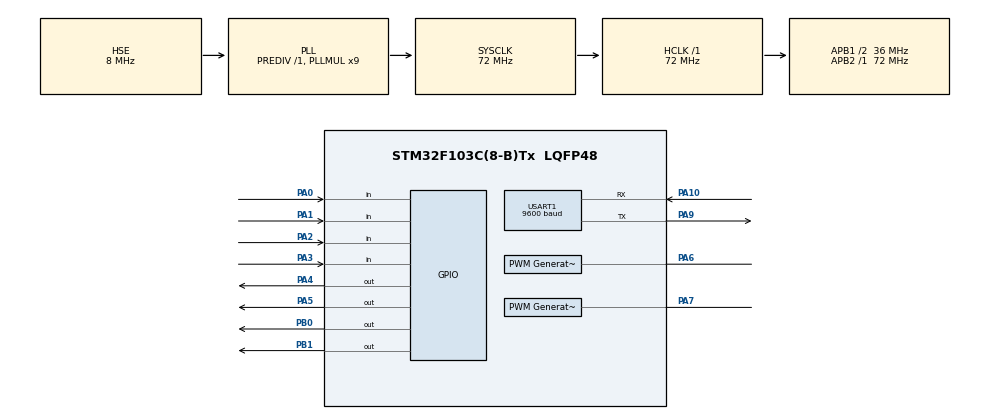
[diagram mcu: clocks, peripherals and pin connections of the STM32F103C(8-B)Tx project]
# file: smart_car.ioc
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Mcu.Family=STM32F1
Mcu.Name=STM32F103C(8-B)Tx
Mcu.Package=LQFP48
NVIC.PriorityGroup=NVIC_PRIORITYGROUP_4
NVIC.USART1_IRQn=true\:0\:0\:false\:false\:true\:false\:true\:true
PA0.GPIO_PuPd=GPIO_PULLUP
PA0.Mode=Input
PA0.Signal=GPIO_Input
PA1.GPIO_PuPd=GPIO_PULLUP
PA1.Mode=Input
PA1.Signal=GPIO_Input
PA2.GPIO_PuPd=GPIO_PULLUP
PA2.Mode=Input
PA2.Signal=GPIO_Input
PA3.GPIO_PuPd=GPIO_PULLUP
PA3.Mode=Input
PA3.Signal=GPIO_Input
PA4.GPIO_Speed=GPIO_SPEED_FREQ_LOW
PA4.Mode=Output
PA4.Signal=GPIO_Output
PA5.GPIO_Speed=GPIO_SPEED_FREQ_LOW
PA5.Mode=Output
PA5.Signal=GPIO_Output
PA6.Mode=TIM3_CH1
PA6.Signal=PWM Generation1 CH1
PA7.Mode=TIM3_CH2
PA7.Signal=PWM Generation1 CH2
PA9.Mode=Asynchronous
PA9.Signal=USART1_TX
PA10.Mode=Asynchronous
PA10.Signal=USART1_RX
PA13.Mode=Serial_Wire
PA13.Signal=SYS_JTMS-SWDIO
PA14.Mode=Serial_Wire
PA14.Signal=SYS_JTCK-SWCLK
PB0.GPIO_Speed=GPIO_SPEED_FREQ_LOW
PB0.Mode=Output
PB0.Signal=GPIO_Output
PB1.GPIO_Speed=GPIO_SPEED_FREQ_LOW
PB1.Mode=Output
PB1.Signal=GPIO_Output
PD0-OSC_IN.Mode=HSE-External-Oscillator
PD0-OSC_IN.Signal=RCC_OSC_IN
PD1-OSC_OUT.Mode=HSE-External-Oscillator
PD1-OSC_OUT.Signal=RCC_OSC_OUT
ProjectManager.HeapSize=0x200
ProjectManager.StackSize=0x400
ProjectManager.TargetToolchain=STM32CubeIDE
RCC.AHBFreq_Value=72000000
RCC.APB1CLKDivider=RCC_HCLK_DIV2
RCC.APB1Freq_Value=36000000
RCC.APB1TimFreq_Value=72000000
RCC.APB2Freq_Value=72000000
RCC.APB2TimFreq_Value=72000000
RCC.HCLKFreq_Value=72000000
RCC.PLLMUL=RCC_PLL_MUL9
RCC.PLLSourceVirtual=RCC_PLLSOURCE_HSE
RCC.SYSCLKFreq_VALUE=72000000
RCC.SYSCLKSource=RCC_SYSCLKSOURCE_PLLCLK
RCC.USBFreq_Value=72000000
TIM3.Channel-PWMGeneration1=TIM_CHANNEL_1
TIM3.Channel-PWMGeneration2=TIM_CHANNEL_2
TIM3.Period=999
TIM3.Prescaler=71
TIM3.Pulse-PWMGeneration1=0
TIM3.Pulse-PWMGeneration2=0
USART1.BaudRate=9600
USART1.WordLength=UART_WORDLENGTH_8B
VP_TIM3_VS_ClockSourceINT.Mode=Internal
board=custom

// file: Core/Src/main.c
/* USER CODE BEGIN Header */
/**
  ******************************************************************************
  * @file           : main.c
  * @brief          : Main program body
  ******************************************************************************
  * @attention
  *
  * Copyright (c) 2026 STMicroelectronics.
  * All rights reserved.
  *
  * This software is licensed under terms that can be found in the LICENSE file
  * in the root directory of this software component.
  * If no LICENSE file comes with this software, it is provided AS-IS.
  *
  ******************************************************************************
  */
/* USER CODE END Header */
#include "main.h"
#include "gpio.h"
#include "tim.h"
#include "usart.h"

/* USER CODE BEGIN Includes */
#include "motor.h"
#include "tracking.h"
#include "bluetooth.h"
/* USER CODE END Includes */

/* USER CODE BEGIN PV */
uint8_t car_mode = MODE_TRACKING;   /* 当前模式：默认上电就是循迹 */
/* USER CODE END PV */

void SystemClock_Config(void);

int main(void)
{

  /* MCU Configuration--------------------------------------------------------*/

  /* Reset of all peripherals, Initializes the Flash interface and the Systick. */
  HAL_Init();

  /* Configure the system clock */
  SystemClock_Config();

  /* Initialize all configured peripherals */
  MX_GPIO_Init();
  MX_TIM3_Init();
  MX_USART1_UART_Init();
  /* USER CODE BEGIN 2 */

  Motor_Start();       /* 启动 PWM */
  Tracking_Init();     /* 初始化循迹 PID */
  Bluetooth_Init();    /* 开启蓝牙串口接收 */
  Motor_Stop();        /* 先停车，等指令 */

  /* USER CODE END 2 */

  /* Infinite loop */
  while (1)
  {

    /* USER CODE BEGIN 3 */

    if (car_mode == MODE_TRACKING)
    {
      /* 自动循迹模式 */
      Tracking_LineFollow(BASE_SPEED);

      /* 收到蓝牙指令就切到遥控模式（顺便把这个指令丢掉） */
      if (bt_flag)
      {
        car_mode = MODE_BLUETOOTH;
        bt_flag = 0;
      }
    }
    else
    {
      /* 蓝牙遥控模式 */
      Bluetooth_Process();

      /* 按 A 切回循迹模式 */
      if (bt_flag && (bt_cmd == 'A' || bt_cmd == 'a'))
      {
        car_mode = MODE_TRACKING;
        bt_flag = 0;
      }
    }

    HAL_Delay(5);   /* 小延时，让控制别太频繁 */
  }
  /* USER CODE END 3 */
}

void SystemClock_Config(void)
{
  RCC_OscInitTypeDef RCC_OscInitStruct = {0};
  RCC_ClkInitTypeDef RCC_ClkInitStruct = {0};

  /** Initializes the RCC Oscillators according to the specified parameters
  * in the RCC_OscInitTypeDef structure.
  */
  RCC_OscInitStruct.OscillatorType = RCC_OSCILLATORTYPE_HSE;
  RCC_OscInitStruct.HSEState = RCC_HSE_ON;
  RCC_OscInitStruct.HSEPredivValue = RCC_HSE_PREDIV_DIV1;
  RCC_OscInitStruct.HSIState = RCC_HSI_ON;
  RCC_OscInitStruct.PLL.PLLState = RCC_PLL_ON;
  RCC_OscInitStruct.PLL.PLLSource = RCC_PLLSOURCE_HSE;
  RCC_OscInitStruct.PLL.PLLMUL = RCC_PLL_MUL9;
  if (HAL_RCC_OscConfig(&RCC_OscInitStruct) != HAL_OK)
  {
    Error_Handler();
  }

  /** Initializes the CPU, AHB and APB buses clocks
  */
  RCC_ClkInitStruct.ClockType = RCC_CLOCKTYPE_HCLK|RCC_CLOCKTYPE_SYSCLK
                              |RCC_CLOCKTYPE_PCLK1|RCC_CLOCKTYPE_PCLK2;
  RCC_ClkInitStruct.SYSCLKSource = RCC_SYSCLKSOURCE_PLLCLK;
  RCC_ClkInitStruct.AHBCLKDivider = RCC_SYSCLK_DIV1;
  RCC_ClkInitStruct.APB1CLKDivider = RCC_HCLK_DIV2;
  RCC_ClkInitStruct.APB2CLKDivider = RCC_HCLK_DIV1;

  if (HAL_RCC_ClockConfig(&RCC_ClkInitStruct, FLASH_LATENCY_2) != HAL_OK)
  {
    Error_Handler();
  }
}

void Error_Handler(void)
{
  __disable_irq();
  while (1)
  {
  }
}
